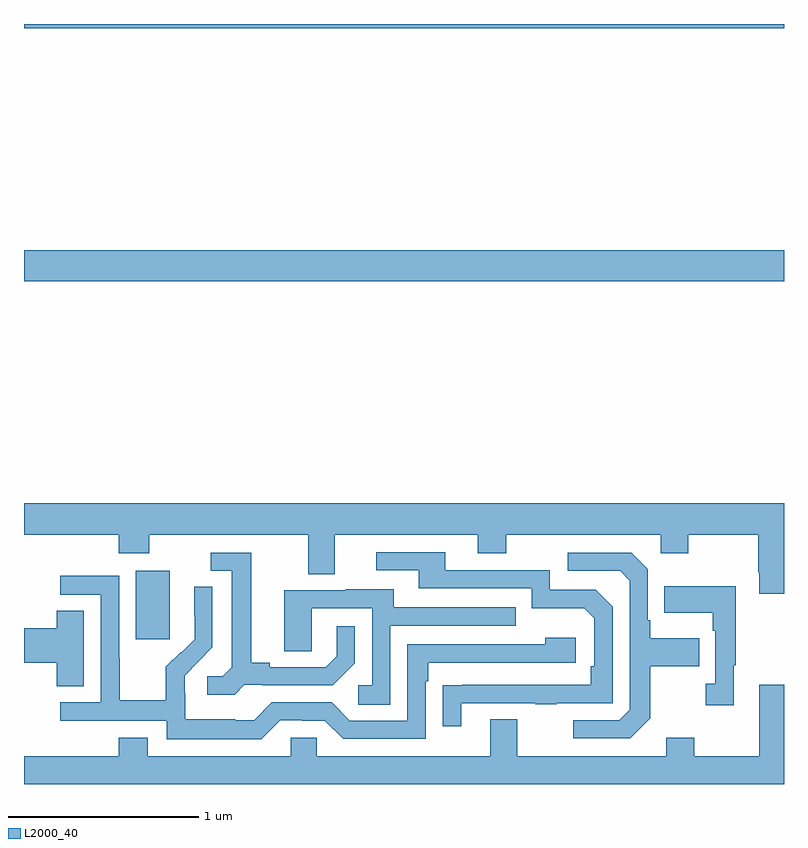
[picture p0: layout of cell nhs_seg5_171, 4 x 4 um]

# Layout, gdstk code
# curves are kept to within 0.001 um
import gdstk
lib = gdstk.Library(unit=1e-6, precision=1e-09)
def R(c, l, rs):  # rectangles x0, y0, x1, y1
    for r in rs: c.add(gdstk.rectangle(r[:2], r[2:], *l))
def P(c, l, *ps):  # polygons
    for p in ps: c.add(gdstk.Polygon(p, *l))
L2000_40 = (2000, 40)

nhs_seg5_171 = lib.new_cell('nhs_seg5_171')
R(nhs_seg5_171, L2000_40, [(121.589,837.561,121.768,837.922), (121,839.444,125,839.608), (121,840.776,125,840.799)])
P(nhs_seg5_171, L2000_40, [(125,838.276),(121,838.276),(121,838.112),(121.499,838.112),(121.499,838.013),(121.659,838.013),(121.659,838.112),(122.495,838.112),(122.495,837.904),(122.635,837.904),(122.635,838.112),(123.389,838.112),(123.389,838.013),(123.537,838.013),(123.537,838.112),(124.35,838.112),(124.35,838.013),(124.497,838.013),(124.497,838.112),(124.864,838.112),(124.864,837.913),(124.871,837.913),(124.871,837.801),(125,837.801)],
  [(123.301,837.225),(123.691,837.225),(123.691,837.22),(123.803,837.22),(123.803,837.225),(124.098,837.225),(124.098,837.732),(124.008,837.822),(123.768,837.822),(123.768,837.924),(123.217,837.924),(123.217,838.02),(122.853,838.02),(122.853,837.924),(123.077,837.924),(123.077,837.828),(123.672,837.828),(123.672,837.725),(123.949,837.725),(124.002,837.672),(124.002,837.418),(123.982,837.418),(123.982,837.321),(123.205,837.32),(123.205,837.102),(123.301,837.102)],
  [(124.297,837.145),(124.297,837.418),(124.553,837.418),(124.553,837.565),(124.297,837.565),(124.297,837.661),(124.284,837.661),(124.284,837.93),(124.197,838.017),(123.861,838.017),(123.861,837.921),(124.137,837.921),(124.188,837.87),(124.188,837.189),(124.134,837.135),(123.891,837.135),(123.891,837.039),(124.191,837.039)],
  [(122.16,837.321),(122.254,837.321),(122.254,837.318),(122.626,837.318),(122.742,837.434),(122.742,837.628),(122.645,837.628),(122.645,837.471),(122.588,837.414),(122.293,837.414),(122.293,837.437),(122.197,837.437),(122.197,838.017),(121.983,838.017),(121.983,837.921),(122.093,837.921),(122.093,837.413),(122.046,837.366),(121.965,837.366),(121.965,837.269),(122.108,837.269)],
  [(122.349,837.135),(122.465,837.135),(122.465,837.132),(122.583,837.132),(122.679,837.036),(123.114,837.036),(123.114,837.341),(123.127,837.341),(123.127,837.438),(123.904,837.438),(123.904,837.568),(123.743,837.568),(123.743,837.534),(123.018,837.534),(123.018,837.132),(122.715,837.132),(122.619,837.228),(122.304,837.228),(122.211,837.135),(122.111,837.135),(122.111,837.139),(121.848,837.139),(121.848,837.273),(121.846,837.273),(121.846,837.37),(121.992,837.518),(121.992,837.836),(121.896,837.836),(121.896,837.682),(121.898,837.682),(121.898,837.56),(121.827,837.489),(121.824,837.492),(121.747,837.415),(121.747,837.241),(121.503,837.241),(121.503,837.464),(121.5,837.464),(121.5,837.894),(121.191,837.894),(121.191,837.795),(121.404,837.795),(121.404,837.228),(121.191,837.228),(121.191,837.132),(121.752,837.132),(121.752,837.035),(122.249,837.035)],
  [(124.735,837.425),(124.747,837.425),(124.747,837.841),(124.369,837.841),(124.369,837.701),(124.626,837.701),(124.626,837.605),(124.638,837.605),(124.638,837.326),(124.587,837.326),(124.587,837.213),(124.735,837.213)],
  [(122.928,837.633),(123.587,837.633),(123.587,837.729),(122.947,837.729),(122.947,837.823),(122.693,837.823),(122.693,837.819),(122.369,837.819),(122.369,837.499),(122.514,837.499),(122.514,837.723),(122.832,837.723),(122.832,837.318),(122.76,837.318),(122.76,837.217),(122.928,837.217)],
  [(121.315,837.71),(121.172,837.71),(121.172,837.62),(121,837.62),(121,837.437),(121.172,837.437),(121.172,837.313),(121.315,837.313)],
  [(125,837.322),(124.871,837.322),(124.871,836.944),(124.527,836.944),(124.527,837.043),(124.379,837.043),(124.379,836.944),(123.595,836.944),(123.595,837.139),(123.455,837.139),(123.455,836.944),(122.541,836.944),(122.541,837.042),(122.403,837.042),(122.403,836.944),(121.651,836.944),(121.651,837.043),(121.499,837.043),(121.499,836.944),(121,836.944),(121,836.799),(125,836.799)])

lib.write_gds('nhs_seg5_171.gds')
